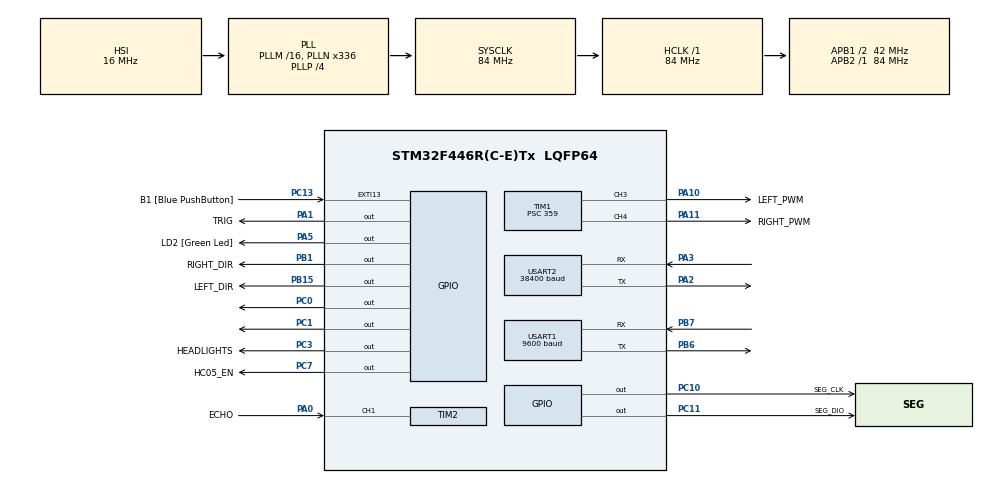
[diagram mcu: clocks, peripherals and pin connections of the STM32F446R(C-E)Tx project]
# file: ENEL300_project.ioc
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Mcu.Family=STM32F4
Mcu.Name=STM32F446R(C-E)Tx
Mcu.Package=LQFP64
NVIC.PriorityGroup=NVIC_PRIORITYGROUP_0
NVIC.TIM2_IRQn=true\:0\:0\:false\:false\:true\:true\:true\:true
NVIC.USART1_IRQn=true\:0\:0\:false\:false\:true\:true\:true\:true
NVIC.USART2_IRQn=true\:0\:0\:false\:false\:true\:true\:true\:true
PA0-WKUP.GPIO_Label=ECHO
PA0-WKUP.Signal=S_TIM2_CH1_ETR
PA1.GPIO_Label=TRIG
PA1.Signal=GPIO_Output
PA10.GPIO_Label=LEFT_PWM
PA10.Signal=S_TIM1_CH3
PA11.GPIO_Label=RIGHT_PWM
PA11.Signal=S_TIM1_CH4
PA13.Mode=Serial_Wire
PA13.Signal=SYS_JTMS-SWDIO
PA14.GPIO_Label=TCK
PA14.Mode=Serial_Wire
PA14.Signal=SYS_JTCK-SWCLK
PA2.Mode=Asynchronous
PA2.Signal=USART2_TX
PA3.Mode=Asynchronous
PA3.Signal=USART2_RX
PA5.GPIO_Label=LD2 [Green Led]
PA5.Signal=GPIO_Output
PB1.GPIO_Label=RIGHT_DIR
PB1.Signal=GPIO_Output
PB15.GPIO_Label=LEFT_DIR
PB15.Signal=GPIO_Output
PB3.GPIO_Label=SWO
PB3.Signal=SYS_JTDO-SWO
PB6.Mode=Asynchronous
PB6.Signal=USART1_TX
PB7.Mode=Asynchronous
PB7.Signal=USART1_RX
PC0.Signal=GPIO_Output
PC1.Signal=GPIO_Output
PC10.GPIO_Label=SEG_CLK
PC10.GPIO_ModeDefaultOutputPP=GPIO_MODE_OUTPUT_PP
PC10.GPIO_PuPd=GPIO_PULLUP
PC10.PinState=GPIO_PIN_SET
PC10.Signal=GPIO_Output
PC11.GPIO_Label=SEG_DIO
PC11.GPIO_ModeDefaultOutputPP=GPIO_MODE_OUTPUT_PP
PC11.GPIO_PuPd=GPIO_PULLUP
PC11.PinState=GPIO_PIN_SET
PC11.Signal=GPIO_Output
PC13.GPIO_Label=B1 [Blue PushButton]
PC13.GPIO_ModeDefaultEXTI=GPIO_MODE_IT_FALLING
PC13.Signal=GPXTI13
PC14-OSC32_IN.Mode=LSE-External-Oscillator
PC14-OSC32_IN.Signal=RCC_OSC32_IN
PC15-OSC32_OUT.Mode=LSE-External-Oscillator
PC15-OSC32_OUT.Signal=RCC_OSC32_OUT
PC3.GPIO_Label=HEADLIGHTS
PC3.Signal=GPIO_Output
PC7.GPIO_Label=HC05_EN
PC7.GPIO_PuPd=GPIO_PULLDOWN
PC7.Signal=GPIO_Output
PH0-OSC_IN.Mode=HSE-External-Oscillator
PH0-OSC_IN.Signal=RCC_OSC_IN
PH1-OSC_OUT.Mode=HSE-External-Oscillator
PH1-OSC_OUT.Signal=RCC_OSC_OUT
ProjectManager.HeapSize=0x200
ProjectManager.StackSize=0x400
ProjectManager.TargetToolchain=STM32CubeIDE
RCC.48MHZClocksFreq_Value=84000000
RCC.AHBFreq_Value=84000000
RCC.APB1CLKDivider=RCC_HCLK_DIV2
RCC.APB1Freq_Value=42000000
RCC.APB1TimFreq_Value=84000000
RCC.APB2Freq_Value=84000000
RCC.APB2TimFreq_Value=84000000
RCC.CortexFreq_Value=84000000
RCC.FLatency-AdvancedSettings=FLASH_LATENCY_2
RCC.HCLKFreq_Value=84000000
RCC.HSE_VALUE=8000000
RCC.HSI_VALUE=16000000
RCC.PLLN=336
RCC.PLLP=RCC_PLLP_DIV4
RCC.SYSCLKFreq_VALUE=84000000
RCC.SYSCLKSource=RCC_SYSCLKSOURCE_PLLCLK
RCC.USBFreq_Value=168000000
RCC.VCOOutputFreq_Value=336000000
SH.S_TIM1_CH3.0=TIM1_CH3,PWM Generation3 CH3
SH.S_TIM1_CH4.0=TIM1_CH4,PWM Generation4 CH4
SH.S_TIM2_CH1_ETR.0=TIM2_CH1,Input_Capture1_from_TI1
TIM1.Channel-PWM\ Generation3\ CH3=TIM_CHANNEL_3
TIM1.Channel-PWM\ Generation4\ CH4=TIM_CHANNEL_4
TIM1.Period=1999
TIM1.Prescaler=359
TIM2.Channel-Input_Capture1_from_TI1=TIM_CHANNEL_1
TIM2.ICPolarity_CH1=TIM_INPUTCHANNELPOLARITY_BOTHEDGE
TIM2.Period=5000
TIM2.Prescaler=83
USART1.BaudRate=9600
USART1.VirtualMode=VM_ASYNC
USART2.BaudRate=38400
USART2.VirtualMode=VM_ASYNC
VP_TIM1_VS_ClockSourceINT.Mode=Internal
board=NUCLEO-F446RE

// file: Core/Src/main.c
/* USER CODE BEGIN Header */
/**
  ******************************************************************************
  * @file           : main.c
  * @brief          : Main program body
  ******************************************************************************
  * @attention
  *
  * Copyright (c) 2026 STMicroelectronics.
  * All rights reserved.
  *
  * This software is licensed under terms that can be found in the LICENSE file
  * in the root directory of this software component.
  * If no LICENSE file comes with this software, it is provided AS-IS.
  *
  ******************************************************************************
  */
/* USER CODE END Header */
#include "main.h"

/* USER CODE BEGIN Includes */
#include <string.h>
#include <stdio.h>
#include "tm1637.h"
/* USER CODE END Includes */

/* USER CODE BEGIN PTD */
#define TEST_MOTORS 1
#define CONFIGURE_HC05 0// 1 = AT mode, 0 = Data mode
#define START_BYTE 0xAA
#define TOGGLE_LED 0xCC

#define BUF_LEN 12 //  length of command buffer, set at 12 so that it can hold 3 sets of commands at once
#define CMD_LEN 4 /* length of a command from the remote.
					--- FORMAT in BYTES ---
					Byte 0: Left Motor Direction (0 for reverse, 1 for forward)
					Byte 1: Left Motor Speed {0-255)
					Byte 2: Right Motor Direction (" ")
					Byte 3: Right Motor Speed (0-255)

				  */

/* USER CODE END PTD */

TIM_HandleTypeDef htim1;
TIM_HandleTypeDef htim2;

UART_HandleTypeDef huart1;
UART_HandleTypeDef huart2;

void SystemClock_Config(void);
static void MX_GPIO_Init(void);
static void MX_TIM1_Init(void);
static void MX_TIM2_Init(void);
static void MX_USART1_UART_Init(void);
static void MX_USART2_UART_Init(void);

/* USER CODE BEGIN 0 */
uint32_t echo_start = 0;
uint32_t echo_end = 0;
uint8_t last_edge = 0;
uint32_t time_diff = 0;
uint8_t echo_measured = 0; // flag for determining if distance sensing done
float distance_cm = 0;
uint32_t last_dist_time = 0;
volatile uint8_t rx_byte = 0;
volatile uint8_t rx_state = 0;
volatile uint8_t rx_data[4];
volatile uint8_t rx_count = 0;

volatile uint8_t new_cmd_ready = 0;
uint8_t cmd_copy[4];

tm1637_t seg =
{
    .seg_cnt  = 4,
    .gpio_clk = GPIOC,
    .gpio_dat = GPIOC,
    .pin_clk  = GPIO_PIN_10,
    .pin_dat = GPIO_PIN_11,
};

void triggerDistanceSensing(){
    HAL_GPIO_WritePin(TRIG_GPIO_Port, TRIG_Pin, GPIO_PIN_SET);
    for(volatile int i = 0; i < 280; i++); // delay 10 us
    HAL_GPIO_WritePin(TRIG_GPIO_Port, TRIG_Pin, GPIO_PIN_RESET);

}
void driveLeft(int speed){
	// assume speed has already been scaled from 0-1999

    if (speed > 0)
    {
        HAL_GPIO_WritePin(LEFT_DIR_GPIO_Port, LEFT_DIR_Pin, GPIO_PIN_SET);  // DIR = 1 (forward)
        __HAL_TIM_SET_COMPARE(&htim1, TIM_CHANNEL_3, speed);  // PWM duty
    }
    else if (speed < 0)
    {
        HAL_GPIO_WritePin(LEFT_DIR_GPIO_Port, LEFT_DIR_Pin, GPIO_PIN_RESET);   // DIR = 0 (reverse)
        HAL_GPIO_TogglePin(GPIOA, GPIO_PIN_5);
        __HAL_TIM_SET_COMPARE(&htim1, TIM_CHANNEL_3, -speed);

    }
    else
    {
        __HAL_TIM_SET_COMPARE(&htim1, TIM_CHANNEL_3, 0);      // brake
    }
}

void driveRight(int speed){
	// assume speed has already been scaled from 0-1999

    if (speed > 0)
    {
        HAL_GPIO_WritePin(RIGHT_DIR_GPIO_Port, RIGHT_DIR_Pin, GPIO_PIN_SET);  // DIR = 1 (forward)
        __HAL_TIM_SET_COMPARE(&htim1, TIM_CHANNEL_4, speed);  // PWM duty
    }
    else if (speed < 0)
    {
        HAL_GPIO_WritePin(RIGHT_DIR_GPIO_Port, RIGHT_DIR_Pin, GPIO_PIN_RESET);   // DIR = 0 (reverse)
        __HAL_TIM_SET_COMPARE(&htim1, TIM_CHANNEL_4, -speed);
    }
    else
    {
        __HAL_TIM_SET_COMPARE(&htim1, TIM_CHANNEL_4, 0);      // brake
    }
}

void configureHC05(){
	char resp[50] = {0};

	HAL_StatusTypeDef status;
	// set car as "slave"
	char cmd2[] = "AT+ROLE=0\r\n";
	HAL_UART_Transmit(&huart1, (uint8_t*)cmd2, strlen(cmd2), HAL_MAX_DELAY);
	HAL_UART_Receive(&huart1, (uint8_t*)resp, sizeof(resp)-1, 500); // 500 ms timeout
	HAL_Delay(500);
	printf("Role Response: %s\r\n", resp); // Print the "OK"
	memset(resp, 0, sizeof(resp));
	HAL_Delay(500);

	char cmd_pw[] = "AT+PSWD=\"0902\"\r\n";
	HAL_UART_Transmit(&huart1, (uint8_t*)cmd_pw, strlen(cmd_pw), 1000);
	HAL_UART_Receive(&huart1, (uint8_t*)resp, sizeof(resp)-1, 500);
	printf("Password Response: %s\r\n", resp); // Print the "OK"
	HAL_Delay(500);
	memset(resp, 0, sizeof(resp));

	char cmd_addr[] = "AT+ADDR?\r\n";
	HAL_UART_Transmit(&huart1, (uint8_t*)cmd_addr, strlen(cmd_addr), HAL_MAX_DELAY);
	HAL_UART_Receive(&huart1, (uint8_t*)resp, sizeof(resp)-1, 500);
	printf("Address Response: %s\r\n", resp); // Print the "OK"
	HAL_Delay(500);
	memset(resp, 0, sizeof(resp));

	// set data mode baud rate = 9600
	char cmd4[] = "AT+UART=9600,0,0\r\n";
	HAL_UART_Transmit(&huart1, (uint8_t*)cmd4, strlen(cmd4), HAL_MAX_DELAY);
	HAL_UART_Receive(&huart1, (uint8_t*)resp, sizeof(resp), 200);
	HAL_Delay(500);
	memset(resp, 0, sizeof(resp));

}

# if 0
void driveRight(int speed){
	// assume speed has already been scaled from 0-1000
	if (speed > 0){
		// if speed is positive, drive forward
		__HAL_TIM_SET_COMPARE(&htim1, TIM_CHANNEL_3, speed); // PWM on IN1
		__HAL_TIM_SET_COMPARE(&htim1, TIM_CHANNEL_4, 0); // LOW on IN2
	} else if (speed < 0) {
		// if speed is negative, drive backward
		__HAL_TIM_SET_COMPARE(&htim1, TIM_CHANNEL_3, 0); // LOW on IN1
		__HAL_TIM_SET_COMPARE(&htim1, TIM_CHANNEL_4, -speed); // PWM on IN2

	} else {
		// speed is 0, turn motor off
		__HAL_TIM_SET_COMPARE(&htim1, TIM_CHANNEL_3, 0); // LOW on IN1
		__HAL_TIM_SET_COMPARE(&htim1, TIM_CHANNEL_4, 0); // LOW on IN2
	}
}

#endif
/* USER CODE END 0 */

int main(void)
{

  /* MCU Configuration--------------------------------------------------------*/

  /* Reset of all peripherals, Initializes the Flash interface and the Systick. */
  HAL_Init();

  /* Configure the system clock */
  SystemClock_Config();

  /* Initialize all configured peripherals */
  MX_GPIO_Init();
  MX_TIM1_Init();
  MX_TIM2_Init();
  MX_USART1_UART_Init();
  MX_USART2_UART_Init();
  /* USER CODE BEGIN 2 */
  HAL_TIM_PWM_Start(&htim1, TIM_CHANNEL_3);
  HAL_TIM_PWM_Start(&htim1, TIM_CHANNEL_4);
  HAL_TIM_IC_Start_IT(&htim2, TIM_CHANNEL_1);
  HAL_GPIO_WritePin(HEADLIGHTS_GPIO_Port, HEADLIGHTS_Pin, GPIO_PIN_SET);  // set LED HIGH

  tm1637_init(&seg);
  tm1637_brightness(&seg,  8);
  //tm1637_str(&seg, "1234");

  /* USER CODE END 2 */

  /* Infinite loop */
  /* USER CODE BEGIN WHILE */

# if CONFIGURE_HC05
	  HAL_GPIO_WritePin(HC05_EN_GPIO_Port, HC05_EN_Pin, GPIO_PIN_SET);  // set EN HIGH
	  configureHC05();

	// important: after running this ONCE, change CONFIGURE_HC05 to 0 and also the baud rate to 9600.
	while (1){} // stop execution so normal car code doesn't run
#endif
   HAL_UART_Receive_IT(&huart1, (uint8_t *) &rx_byte, 1);

  while (1)
  {

	  uint8_t idx_diff = 0;

	  //HAL_GPIO_TogglePin(GPIOA, GPIO_PIN_5);

	  if(new_cmd_ready){
	         new_cmd_ready = 0;

	         uint8_t left_dir  = cmd_copy[0];
	         uint8_t left_speed = cmd_copy[1];
	         uint8_t right_dir  = cmd_copy[2];
	         uint8_t right_speed = cmd_copy[3];

	         // safety check
	         if(left_dir > 1 || right_dir > 1){
	             continue; // discard bad packet
	         }

	         // scale to motor range
	         int scaled_left  = ((int)left_speed * 1999) / 255;
	         int scaled_right = ((int)right_speed * 1999) / 255;

	         // apply direction
	         scaled_left  = (left_dir  ? scaled_left  : -scaled_left);
	         scaled_right = (right_dir ? scaled_right : -scaled_right);

	         printf("L:%d R:%d\r\n", scaled_left, scaled_right);

	         driveLeft(scaled_left);
	         driveRight(scaled_right);
	     }
#if 1

	  // trigger distance sensor every 500 ms
	  if (HAL_GetTick() - last_dist_time >= 200){
		  triggerDistanceSensing();
		  last_dist_time = HAL_GetTick();

	  }
	  if (echo_measured){
		  echo_measured = 0; // reset flag
		  distance_cm  = time_diff / 58.0f;
		  char buffer [15];
		  sprintf(buffer,  "%4.1f", distance_cm);
		  printf("%s \r\n",buffer);
		  tm1637_str(&seg, buffer);

	  }

#endif

    /* USER CODE END WHILE */

  }
}

void SystemClock_Config(void)
{
  RCC_OscInitTypeDef RCC_OscInitStruct = {0};
  RCC_ClkInitTypeDef RCC_ClkInitStruct = {0};

  /** Configure the main internal regulator output voltage
  */
  __HAL_RCC_PWR_CLK_ENABLE();
  __HAL_PWR_VOLTAGESCALING_CONFIG(PWR_REGULATOR_VOLTAGE_SCALE3);

  /** Initializes the RCC Oscillators according to the specified parameters
  * in the RCC_OscInitTypeDef structure.
  */
  RCC_OscInitStruct.OscillatorType = RCC_OSCILLATORTYPE_HSI;
  RCC_OscInitStruct.HSIState = RCC_HSI_ON;
  RCC_OscInitStruct.HSICalibrationValue = RCC_HSICALIBRATION_DEFAULT;
  RCC_OscInitStruct.PLL.PLLState = RCC_PLL_ON;
  RCC_OscInitStruct.PLL.PLLSource = RCC_PLLSOURCE_HSI;
  RCC_OscInitStruct.PLL.PLLM = 16;
  RCC_OscInitStruct.PLL.PLLN = 336;
  RCC_OscInitStruct.PLL.PLLP = RCC_PLLP_DIV4;
  RCC_OscInitStruct.PLL.PLLQ = 2;
  RCC_OscInitStruct.PLL.PLLR = 2;
  if (HAL_RCC_OscConfig(&RCC_OscInitStruct) != HAL_OK)
  {
    Error_Handler();
  }

  /** Initializes the CPU, AHB and APB buses clocks
  */
  RCC_ClkInitStruct.ClockType = RCC_CLOCKTYPE_HCLK|RCC_CLOCKTYPE_SYSCLK
                              |RCC_CLOCKTYPE_PCLK1|RCC_CLOCKTYPE_PCLK2;
  RCC_ClkInitStruct.SYSCLKSource = RCC_SYSCLKSOURCE_PLLCLK;
  RCC_ClkInitStruct.AHBCLKDivider = RCC_SYSCLK_DIV1;
  RCC_ClkInitStruct.APB1CLKDivider = RCC_HCLK_DIV2;
  RCC_ClkInitStruct.APB2CLKDivider = RCC_HCLK_DIV1;

  if (HAL_RCC_ClockConfig(&RCC_ClkInitStruct, FLASH_LATENCY_2) != HAL_OK)
  {
    Error_Handler();
  }
}

static void MX_TIM1_Init(void)
{

  TIM_ClockConfigTypeDef sClockSourceConfig = {0};
  TIM_MasterConfigTypeDef sMasterConfig = {0};
  TIM_OC_InitTypeDef sConfigOC = {0};
  TIM_BreakDeadTimeConfigTypeDef sBreakDeadTimeConfig = {0};

  htim1.Instance = TIM1;
  htim1.Init.Prescaler = 359;
  htim1.Init.CounterMode = TIM_COUNTERMODE_UP;
  htim1.Init.Period = 1999;
  htim1.Init.ClockDivision = TIM_CLOCKDIVISION_DIV1;
  htim1.Init.RepetitionCounter = 0;
  htim1.Init.AutoReloadPreload = TIM_AUTORELOAD_PRELOAD_DISABLE;
  if (HAL_TIM_Base_Init(&htim1) != HAL_OK)
  {
    Error_Handler();
  }
  sClockSourceConfig.ClockSource = TIM_CLOCKSOURCE_INTERNAL;
  if (HAL_TIM_ConfigClockSource(&htim1, &sClockSourceConfig) != HAL_OK)
  {
    Error_Handler();
  }
  if (HAL_TIM_PWM_Init(&htim1) != HAL_OK)
  {
    Error_Handler();
  }
  sMasterConfig.MasterOutputTrigger = TIM_TRGO_RESET;
  sMasterConfig.MasterSlaveMode = TIM_MASTERSLAVEMODE_DISABLE;
  if (HAL_TIMEx_MasterConfigSynchronization(&htim1, &sMasterConfig) != HAL_OK)
  {
    Error_Handler();
  }
  sConfigOC.OCMode = TIM_OCMODE_PWM1;
  sConfigOC.Pulse = 0;
  sConfigOC.OCPolarity = TIM_OCPOLARITY_HIGH;
  sConfigOC.OCNPolarity = TIM_OCNPOLARITY_HIGH;
  sConfigOC.OCFastMode = TIM_OCFAST_DISABLE;
  sConfigOC.OCIdleState = TIM_OCIDLESTATE_RESET;
  sConfigOC.OCNIdleState = TIM_OCNIDLESTATE_RESET;
  if (HAL_TIM_PWM_ConfigChannel(&htim1, &sConfigOC, TIM_CHANNEL_3) != HAL_OK)
  {
    Error_Handler();
  }
  if (HAL_TIM_PWM_ConfigChannel(&htim1, &sConfigOC, TIM_CHANNEL_4) != HAL_OK)
  {
    Error_Handler();
  }
  sBreakDeadTimeConfig.OffStateRunMode = TIM_OSSR_DISABLE;
  sBreakDeadTimeConfig.OffStateIDLEMode = TIM_OSSI_DISABLE;
  sBreakDeadTimeConfig.LockLevel = TIM_LOCKLEVEL_OFF;
  sBreakDeadTimeConfig.DeadTime = 0;
  sBreakDeadTimeConfig.BreakState = TIM_BREAK_DISABLE;
  sBreakDeadTimeConfig.BreakPolarity = TIM_BREAKPOLARITY_HIGH;
  sBreakDeadTimeConfig.AutomaticOutput = TIM_AUTOMATICOUTPUT_DISABLE;
  if (HAL_TIMEx_ConfigBreakDeadTime(&htim1, &sBreakDeadTimeConfig) != HAL_OK)
  {
    Error_Handler();
  }
  HAL_TIM_MspPostInit(&htim1);

}

static void MX_TIM2_Init(void)
{

  TIM_MasterConfigTypeDef sMasterConfig = {0};
  TIM_IC_InitTypeDef sConfigIC = {0};

  htim2.Instance = TIM2;
  htim2.Init.Prescaler = 83;
  htim2.Init.CounterMode = TIM_COUNTERMODE_UP;
  htim2.Init.Period = 5000;
  htim2.Init.ClockDivision = TIM_CLOCKDIVISION_DIV1;
  htim2.Init.AutoReloadPreload = TIM_AUTORELOAD_PRELOAD_DISABLE;
  if (HAL_TIM_IC_Init(&htim2) != HAL_OK)
  {
    Error_Handler();
  }
  sMasterConfig.MasterOutputTrigger = TIM_TRGO_RESET;
  sMasterConfig.MasterSlaveMode = TIM_MASTERSLAVEMODE_DISABLE;
  if (HAL_TIMEx_MasterConfigSynchronization(&htim2, &sMasterConfig) != HAL_OK)
  {
    Error_Handler();
  }
  sConfigIC.ICPolarity = TIM_INPUTCHANNELPOLARITY_BOTHEDGE;
  sConfigIC.ICSelection = TIM_ICSELECTION_DIRECTTI;
  sConfigIC.ICPrescaler = TIM_ICPSC_DIV1;
  sConfigIC.ICFilter = 0;
  if (HAL_TIM_IC_ConfigChannel(&htim2, &sConfigIC, TIM_CHANNEL_1) != HAL_OK)
  {
    Error_Handler();
  }

}

static void MX_USART1_UART_Init(void)
{

  huart1.Instance = USART1;
  huart1.Init.BaudRate = 9600;
  huart1.Init.WordLength = UART_WORDLENGTH_8B;
  huart1.Init.StopBits = UART_STOPBITS_1;
  huart1.Init.Parity = UART_PARITY_NONE;
  huart1.Init.Mode = UART_MODE_TX_RX;
  huart1.Init.HwFlowCtl = UART_HWCONTROL_NONE;
  huart1.Init.OverSampling = UART_OVERSAMPLING_16;
  if (HAL_UART_Init(&huart1) != HAL_OK)
  {
    Error_Handler();
  }

}

static void MX_USART2_UART_Init(void)
{

  huart2.Instance = USART2;
  huart2.Init.BaudRate = 38400;
  huart2.Init.WordLength = UART_WORDLENGTH_8B;
  huart2.Init.StopBits = UART_STOPBITS_1;
  huart2.Init.Parity = UART_PARITY_NONE;
  huart2.Init.Mode = UART_MODE_TX_RX;
  huart2.Init.HwFlowCtl = UART_HWCONTROL_NONE;
  huart2.Init.OverSampling = UART_OVERSAMPLING_16;
  if (HAL_UART_Init(&huart2) != HAL_OK)
  {
    Error_Handler();
  }

}

static void MX_GPIO_Init(void)
{
  GPIO_InitTypeDef GPIO_InitStruct = {0};

  /* GPIO Ports Clock Enable */
  __HAL_RCC_GPIOC_CLK_ENABLE();
  __HAL_RCC_GPIOH_CLK_ENABLE();
  __HAL_RCC_GPIOA_CLK_ENABLE();
  __HAL_RCC_GPIOB_CLK_ENABLE();

  /*Configure GPIO pin Output Level */
  HAL_GPIO_WritePin(GPIOC, GPIO_PIN_0|GPIO_PIN_1|HEADLIGHTS_Pin|HC05_EN_Pin, GPIO_PIN_RESET);

  /*Configure GPIO pin Output Level */
  HAL_GPIO_WritePin(GPIOA, TRIG_Pin|LD2_Pin, GPIO_PIN_RESET);

  /*Configure GPIO pin Output Level */
  HAL_GPIO_WritePin(GPIOB, RIGHT_DIR_Pin|LEFT_DIR_Pin, GPIO_PIN_RESET);

  /*Configure GPIO pin Output Level */
  HAL_GPIO_WritePin(GPIOC, SEG_CLK_Pin|SEG_DIO_Pin, GPIO_PIN_SET);

  /*Configure GPIO pin : B1_Pin */
  GPIO_InitStruct.Pin = B1_Pin;
  GPIO_InitStruct.Mode = GPIO_MODE_IT_FALLING;
  GPIO_InitStruct.Pull = GPIO_NOPULL;
  HAL_GPIO_Init(B1_GPIO_Port, &GPIO_InitStruct);

  /*Configure GPIO pins : PC0 PC1 HEADLIGHTS_Pin */
  GPIO_InitStruct.Pin = GPIO_PIN_0|GPIO_PIN_1|HEADLIGHTS_Pin;
  GPIO_InitStruct.Mode = GPIO_MODE_OUTPUT_PP;
  GPIO_InitStruct.Pull = GPIO_NOPULL;
  GPIO_InitStruct.Speed = GPIO_SPEED_FREQ_LOW;
  HAL_GPIO_Init(GPIOC, &GPIO_InitStruct);

  /*Configure GPIO pins : TRIG_Pin LD2_Pin */
  GPIO_InitStruct.Pin = TRIG_Pin|LD2_Pin;
  GPIO_InitStruct.Mode = GPIO_MODE_OUTPUT_PP;
  GPIO_InitStruct.Pull = GPIO_NOPULL;
  GPIO_InitStruct.Speed = GPIO_SPEED_FREQ_LOW;
  HAL_GPIO_Init(GPIOA, &GPIO_InitStruct);

  /*Configure GPIO pins : RIGHT_DIR_Pin LEFT_DIR_Pin */
  GPIO_InitStruct.Pin = RIGHT_DIR_Pin|LEFT_DIR_Pin;
  GPIO_InitStruct.Mode = GPIO_MODE_OUTPUT_PP;
  GPIO_InitStruct.Pull = GPIO_NOPULL;
  GPIO_InitStruct.Speed = GPIO_SPEED_FREQ_LOW;
  HAL_GPIO_Init(GPIOB, &GPIO_InitStruct);

  /*Configure GPIO pin : HC05_EN_Pin */
  GPIO_InitStruct.Pin = HC05_EN_Pin;
  GPIO_InitStruct.Mode = GPIO_MODE_OUTPUT_PP;
  GPIO_InitStruct.Pull = GPIO_PULLDOWN;
  GPIO_InitStruct.Speed = GPIO_SPEED_FREQ_LOW;
  HAL_GPIO_Init(HC05_EN_GPIO_Port, &GPIO_InitStruct);

  /*Configure GPIO pins : SEG_CLK_Pin SEG_DIO_Pin */
  GPIO_InitStruct.Pin = SEG_CLK_Pin|SEG_DIO_Pin;
  GPIO_InitStruct.Mode = GPIO_MODE_OUTPUT_PP;
  GPIO_InitStruct.Pull = GPIO_PULLUP;
  GPIO_InitStruct.Speed = GPIO_SPEED_FREQ_LOW;
  HAL_GPIO_Init(GPIOC, &GPIO_InitStruct);

/* USER CODE BEGIN MX_GPIO_Init_2 */
  GPIO_InitStruct.Pin = GPIO_PIN_7;
  GPIO_InitStruct.Mode = GPIO_MODE_AF_PP;
  GPIO_InitStruct.Pull = GPIO_PULLUP; // This pulls the RX line to 3.3V
  GPIO_InitStruct.Speed = GPIO_SPEED_FREQ_VERY_HIGH;
  GPIO_InitStruct.Alternate = GPIO_AF7_USART1;
	HAL_GPIO_Init(GPIOB, &GPIO_InitStruct);
/* USER CODE END MX_GPIO_Init_2 */
}

/* USER CODE BEGIN 4 */
int __io_putchar(int ch)
{
  HAL_UART_Transmit(&huart2, (uint8_t *)&ch, 1, HAL_MAX_DELAY);
  return ch;
}

void HAL_UART_RxCpltCallback(UART_HandleTypeDef *huart){
    if(huart->Instance == USART1){
        uint8_t byte = rx_byte;

        // If we see a START_BYTE, reset
        if(byte == START_BYTE){
            rx_count = 0;
            // Go to the next interrupt immediately to get the first actual data byte
        } else if (byte == TOGGLE_LED){
        	HAL_GPIO_TogglePin(HEADLIGHTS_GPIO_Port, HEADLIGHTS_Pin);
            //HAL_GPIO_TogglePin(LD2_GPIO_Port, LD2_Pin);
        	//printf("toggle\r\n");

        } else if (rx_count < 4) {
			rx_data[rx_count++] = byte;

			if (rx_count == 4) {
				for (int i = 0; i < 4; i++) {
					cmd_copy[i] = rx_data[i];
				}
				new_cmd_ready = 1;
				rx_count = 99;
			}
		}

        HAL_UART_Receive_IT(&huart1, (uint8_t*)&rx_byte, 1);
    }
}
void HAL_TIM_IC_CaptureCallback(TIM_HandleTypeDef *htim){
    if (htim->Instance == TIM2 && htim->Channel == HAL_TIM_ACTIVE_CHANNEL_1) {

    	// ECHO rising edge
    	if (last_edge == 0) {
    		echo_start = HAL_TIM_ReadCapturedValue(htim, TIM_CHANNEL_1);
    		last_edge = 1;

    	} else {
    		echo_end = HAL_TIM_ReadCapturedValue(htim, TIM_CHANNEL_1);

    		if (echo_end < echo_start){
    			time_diff = htim->Init.Period - echo_start + echo_end;
    		} else {
    			time_diff = echo_end - echo_start;
    		}

    		last_edge = 0;
    		echo_measured = 1;
    	}
    }

}
/* USER CODE END 4 */

void Error_Handler(void)
{
  __disable_irq();
  while (1)
  {
  }
}
